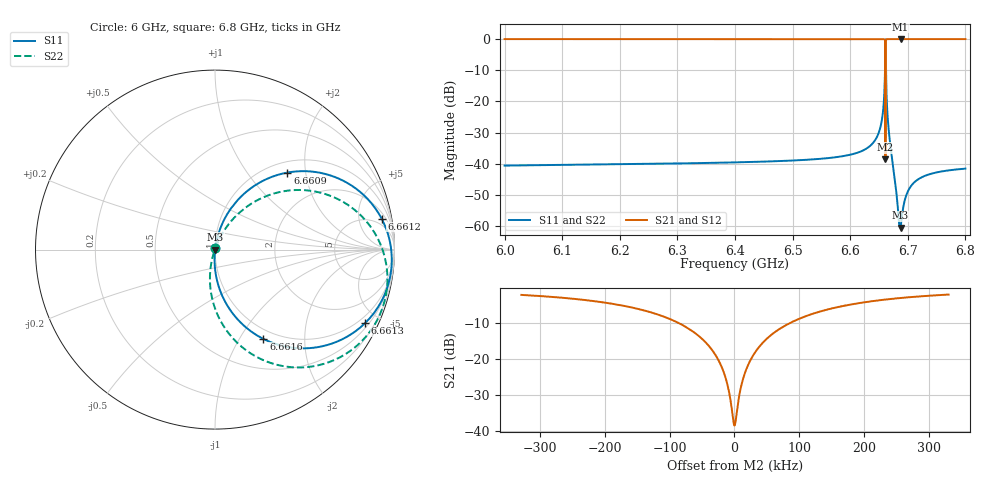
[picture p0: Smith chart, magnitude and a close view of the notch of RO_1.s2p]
! Sonnet Data File
! From: em Version : 14.52
! From Project: RO_1
! Data is De-embedded
! Data File Written: 01/08/2019 21:02:42
!< HDATE 01/08/2019 00:45:15
!< MDATE 01/08/2019 20:28:25
# GHZ S MA R 50.00000
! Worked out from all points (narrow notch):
!   961 points, 6 GHz to 6.8 GHz, reference 50 ohm
!   highest |S21| = 0.00 dB at 6.6875 GHz (marker M1); lowest = -38.5 dB at 6.6612 GHz (marker M2)
!   notch at M2: 38.4 dB deep, 55.7 kHz wide at half that depth
!   lowest |S11| = -60.4 dB at 6.6875 GHz (marker M3), VSWR 1.00, Z = 50.1 + j0.0276 ohm
!   |S11| at or under -10 dB: start of sweep to 6.6605 GHz; 6.662 GHz to end of sweep
!   |S22| runs from -60.5 to -0.1 dB; largest |S21 - S12| = 0
!   S11 on the Smith chart (normalised r, x): 6 GHz: 1.00, +0.02; 6.6609 GHz: 1.21, +1.59; 6.6612 GHz: 3, +10; 6.6613 GHz: 0.68, -4.20; 6.6616 GHz: 0.87, -1.27; 6.8 GHz: 1.00, +0.02
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6  0.009388 79.2  1 -12.2  1 -12.2  0.009388 76.4
!< P1 F=6.0 Eeff=(5.67080918 -5.1691e-6) Z0=(51.6560295 2.35492e-5) R=0.01071313 C=0.0022568
!< P2 F=6.0 Eeff=(5.67080918 -5.1691e-6) Z0=(51.6560295 2.35492e-5) R=0.01071313 C=0.0022568
6.135  0.009688 79.0  1 -12.4  1 -12.4  0.009688 76.1
6.2675  0.01005 78.9  1 -12.7  1 -12.7  0.01005 75.7
6.4  0.01057 78.7  0.9999 -13.0  0.9999 -13.0  0.01057 75.3
6.535  0.0118 78.8  0.9999 -13.3  0.9999 -13.3  0.0118 74.5
6.64  0.02184 79.9  0.9998 -14.1  0.9998 -14.1  0.02184 71.8
6.656  0.0581 79.2  0.9983 -16.2  0.9983 -16.2  0.0581 68.3
6.6604  0.297 65.8  0.9538 -30.2  0.9538 -30.2  0.297 53.5
6.66089  0.5894 46.7  0.8028 -49.0  0.8028 -49.0  0.5894 34.3
6.66116  0.9442 10.6  0.2952 -83.5  0.2952 -83.5  0.9442 -2.0
6.661215  0.9838 -1.2  0.0946 -90.3  0.0946 -90.3  0.9838 -13.8
6.661239  0.9881 -6.5  0.0119 -16.9  0.0119 -16.9  0.9881 -19.2
6.661266  0.9825 -12.7  0.1069 64.7  0.1069 64.7  0.9825 -25.3
6.66133  0.9308 -26.1  0.3355 55.6  0.3355 55.6  0.9308 -38.8
6.6616  0.5661 -61.5  0.8195 21.6  0.8195 21.6  0.5661 -74.3
6.6624  0.2034 -84.5  0.9785 -1.2  0.9785 -1.2  0.2034 -97.6
6.6668  0.03546 -93.1  0.9993 -10.9  0.9993 -10.9  0.03546 -108.6
6.6792  0.004175 -84.3  1 -12.7  1 -12.7  0.004174 -121.0
6.68  0.00359 -82.4  1 -12.7  1 -12.7  0.003589 -123.0
6.6875  0.0009506 16.9  1 -13.0  1 -13.0  0.0009478 137.1
6.7225  0.005992 74.6  1 -13.4  1 -13.4  0.005992 78.7
6.8  0.008393 76.7  1 -13.6  1 -13.6  0.008393 76.1
